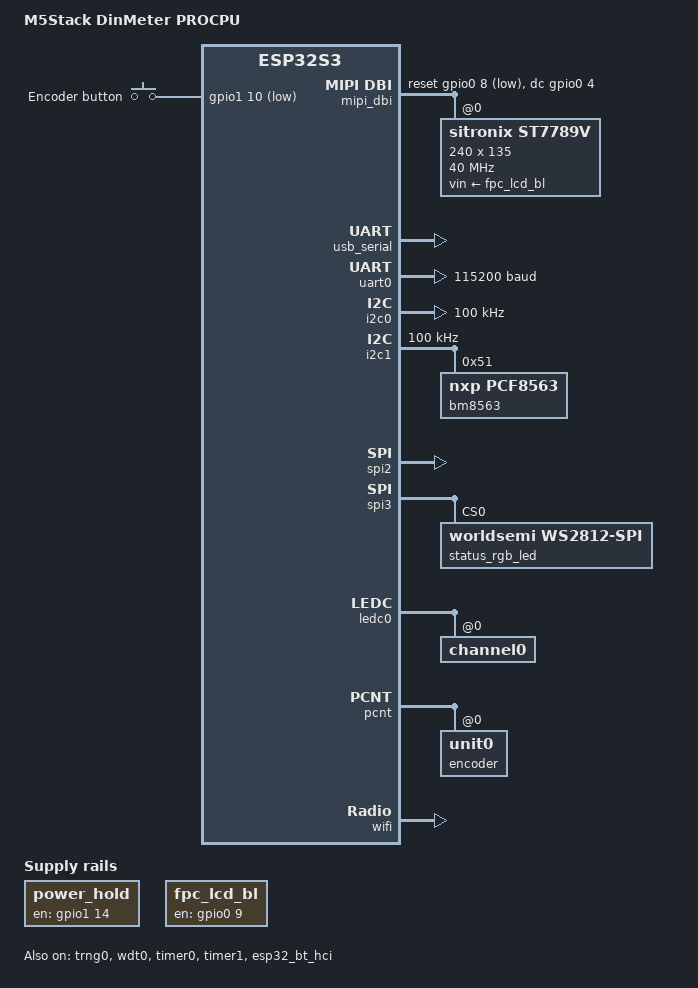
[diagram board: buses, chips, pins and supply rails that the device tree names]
/*
 * Copyright (c) 2024 TOKITA Hiroshi
 *
 * SPDX-License-Identifier: Apache-2.0
 */
/dts-v1/;

#include <espressif/esp32s3/esp32s3_fn8.dtsi>
#include "m5stack_dinmeter-pinctrl.dtsi"
#include <zephyr/dt-bindings/pwm/pwm.h>
#include <zephyr/dt-bindings/led/led.h>
#include <zephyr/dt-bindings/led/worldsemi_ws2812c.h>
#include <zephyr/dt-bindings/input/input-event-codes.h>
#include <espressif/partitions_0x0_amp.dtsi>

/ {
	model = "M5Stack DinMeter PROCPU";
	compatible = "m5stack,dinmeter";

	chosen {
		zephyr,sram = &sram1;
		zephyr,console = &usb_serial;
		zephyr,shell-uart = &usb_serial;
		zephyr,flash = &flash0;
		zephyr,code-partition = &slot0_partition;
		zephyr,display = &st7789v;
		zephyr,rtc = &bm8563;
		zephyr,bt-hci = &esp32_bt_hci;
	};

	aliases {
		sw0 = &encoder_btn;
		watchdog0 = &wdt0;
		i2c-0 = &i2c0;
		i2c-1 = &i2c1;
		led-strip = &status_rgb_led;
		rtc = &bm8563;
		qdec0 = &encoder;
	};

	gpio_keys {
		compatible = "gpio-keys";

		encoder_btn: encoder_button {
			label = "Encoder button";
			gpios = <&gpio1 10 GPIO_ACTIVE_LOW>;
			zephyr,code = <INPUT_KEY_ENTER>;
		};
	};

	/*
	 * GPIO46 must be held HIGH to keep power on after wake-up.
	 * Without this, the device re-enters sleep on button release.
	 */
	power_hold: power_hold {
		compatible = "regulator-fixed";
		regulator-name = "power-hold";
		enable-gpios = <&gpio1 14 GPIO_ACTIVE_HIGH>;
		regulator-boot-on;
		regulator-always-on;
	};

	fpc_lcd_bl: fpc_lcd_bl {
		compatible = "regulator-fixed";
		regulator-name = "fpc_lcd_bl";
		enable-gpios = <&gpio0 9 GPIO_ACTIVE_HIGH>;
		regulator-boot-on;
	};

	mipi_dbi {
		compatible = "zephyr,mipi-dbi-spi";
		spi-dev = <&spi2>;
		dc-gpios = <&gpio0 4 GPIO_ACTIVE_HIGH>;
		reset-gpios = <&gpio0 8 GPIO_ACTIVE_LOW>;
		write-only;
		#address-cells = <1>;
		#size-cells = <0>;

		st7789v: st7789v@0 {
			compatible = "sitronix,st7789v";
			reg = <0>;
			vin-supply = <&fpc_lcd_bl>;
			mipi-max-frequency = <40000000>;
			width = <240>;
			height = <135>;
			x-offset = <40>;
			y-offset = <52>;
			vcom = <0x28>;
			gctrl = <0x35>;
			vrhs = <0x10>;
			vdvs = <0x20>;
			mdac = <0xa0>;
			gamma = <0x01>;
			colmod = <0x55>;
			lcm = <0x2c>;
			porch-param = [0c 0c 00 33 33];
			cmd2en-param = [5a 69 02 00];
			pwctrl1-param = [a4 a1];
			pvgam-param = [d0 00 02 07 0a 28 32 44 42 06 0e 12 14 17];
			nvgam-param = [d0 00 02 07 0a 28 31 54 47 0e 1c 17 1b 1e];
			ram-param = [00 f0];
			rgb-param = [40 02 14];
			mipi-mode = "MIPI_DBI_MODE_SPI_4WIRE";
		};
	};
};

&usb_serial {
	status = "okay";
};

&uart0 {
	status = "okay";
	current-speed = <115200>;
	pinctrl-0 = <&uart0_default>;
	pinctrl-names = "default";
};

&gpio0 {
	status = "okay";
};

&gpio1 {
	status = "okay";
};

/* I2C0: PORT.A external expansion */
&i2c0 {
	status = "okay";
	clock-frequency = <I2C_BITRATE_STANDARD>;
	pinctrl-0 = <&i2c0_default>;
	pinctrl-names = "default";
};

/* I2C1: internal (BM8563 RTC) */
&i2c1 {
	status = "okay";
	clock-frequency = <I2C_BITRATE_STANDARD>;
	pinctrl-0 = <&i2c1_default>;
	pinctrl-names = "default";

	bm8563: bm8563@51 {
		compatible = "nxp,pcf8563";
		reg = <0x51>;
		status = "okay";
	};
};

/* SPI2: ST7789 LCD display */
&spi2 {
	#address-cells = <1>;
	#size-cells = <0>;
	status = "okay";
	pinctrl-0 = <&spim2_default>;
	pinctrl-names = "default";
};

/* SPI3: WS2812 RGB LED on GPIO21 */
&spi3 {
	#address-cells = <1>;
	#size-cells = <0>;
	status = "okay";
	line-idle-low;
	pinctrl-0 = <&spim3_default>;
	pinctrl-names = "default";

	status_rgb_led: ws2812@0 {
		compatible = "worldsemi,ws2812-spi";
		reg = <0x0>;
		spi-max-frequency = <WS2812C_SPI_FREQ>;

		chain-length = <1>;
		color-mapping = <LED_COLOR_ID_GREEN>,
				<LED_COLOR_ID_RED>,
				<LED_COLOR_ID_BLUE>;
		spi-one-frame = <WS2812C_ONE_FRAME>;
		spi-zero-frame = <WS2812C_ZERO_FRAME>;
		reset-delay = <250>;
	};
};

/* LEDC: buzzer (ch0/GPIO3) */
&ledc0 {
	pinctrl-0 = <&ledc0_default>;
	pinctrl-names = "default";
	status = "okay";
	#address-cells = <1>;
	#size-cells = <0>;

	/* Buzzer */
	channel0@0 {
		reg = <0x0>;
		timer = <0>;
	};
};

/* PCNT: rotary encoder quadrature decoder */
&pcnt {
	pinctrl-0 = <&pcnt0_default>;
	pinctrl-names = "default";
	status = "okay";
	#address-cells = <1>;
	#size-cells = <0>;

	encoder: unit0@0 {
		reg = <0>;
		#address-cells = <1>;
		#size-cells = <0>;
		filter = <100>;

		channelA@0 {
			reg = <0>;
			sig-pos-mode = <2>;
			sig-neg-mode = <1>;
			ctrl-h-mode = <1>;
			ctrl-l-mode = <0>;
		};
	};
};

&trng0 {
	status = "okay";
};

&wdt0 {
	status = "okay";
};

&timer0 {
	status = "okay";
};

&timer1 {
	status = "okay";
};

&esp32_bt_hci {
	status = "okay";
};

&wifi {
	status = "okay";
};
